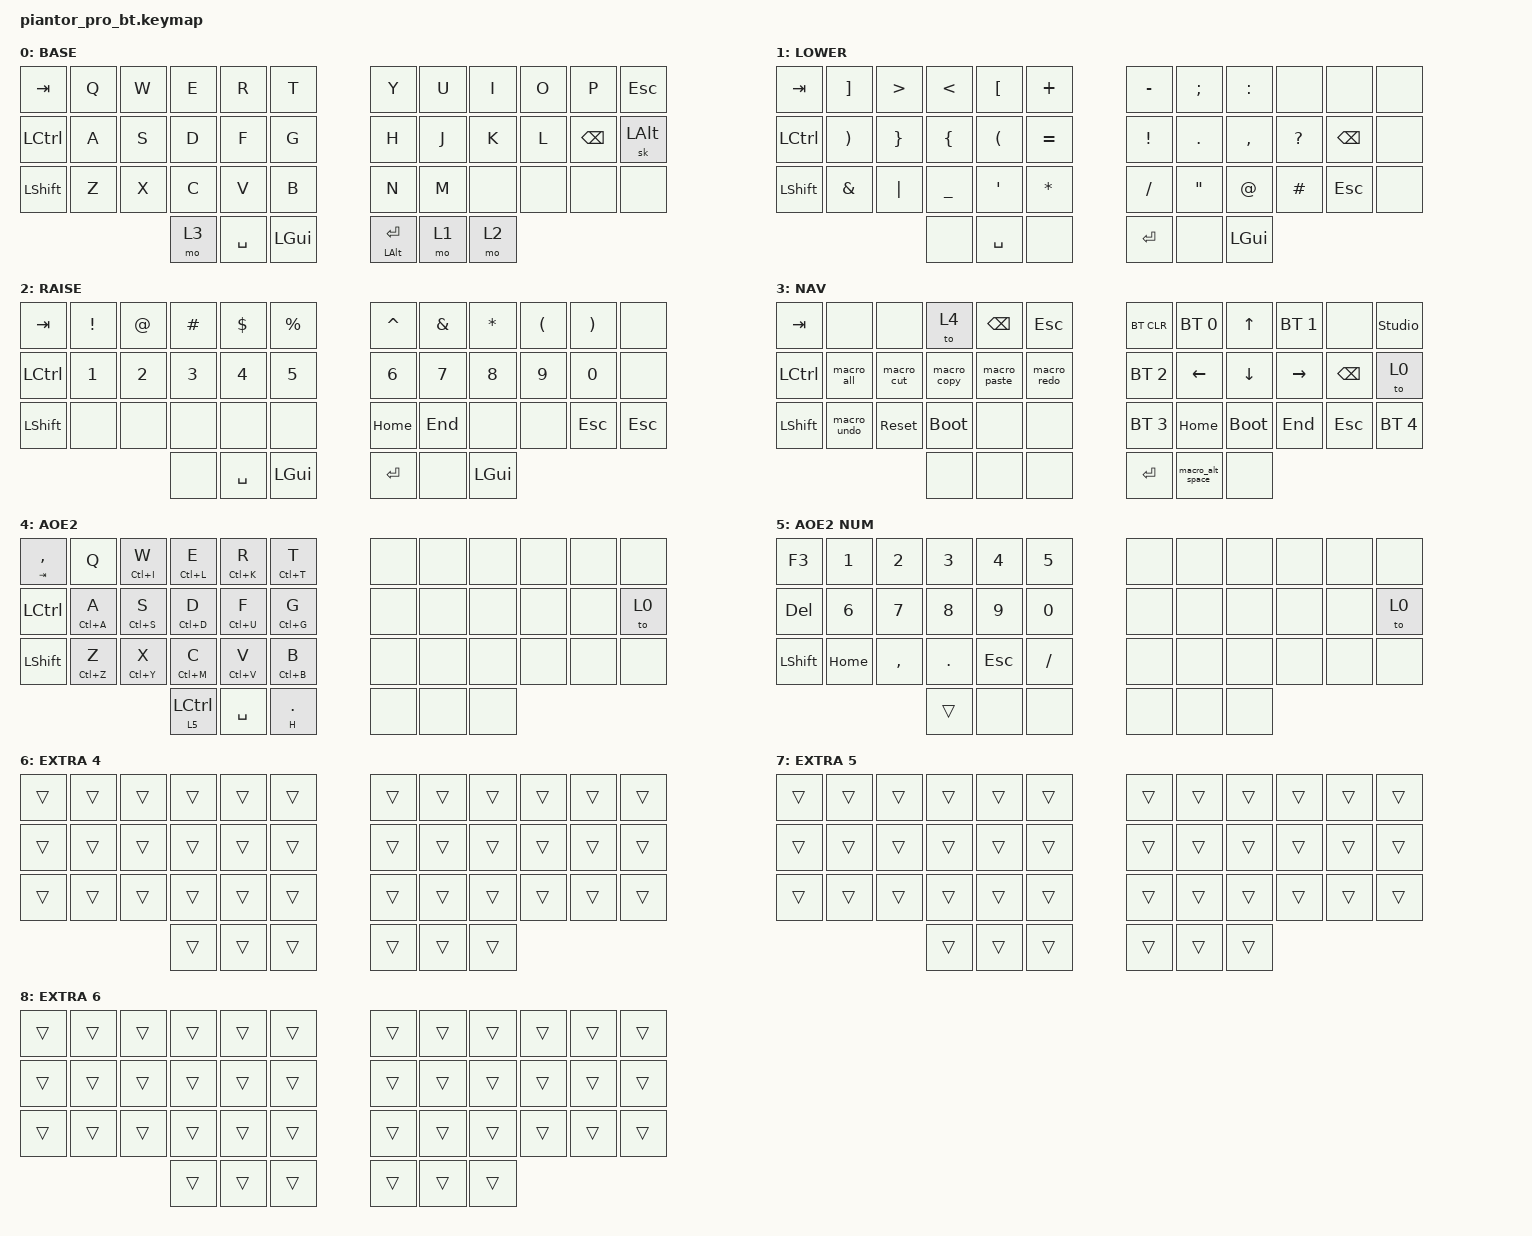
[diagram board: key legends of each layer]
/*
 * Copyright (c) 2020 The ZMK Contributors
 *
 * SPDX-License-Identifier: MIT
 */

#include <behaviors.dtsi>
#include <dt-bindings/zmk/keys.h>
#include <dt-bindings/zmk/bt.h>
#include <dt-bindings/zmk/rgb.h>

/ {
    chosen {
        zmk,physical-layout = &default_layout;
    };
};

/ {
    behaviors {
        aoe_grp: aoe_group_tap {
            compatible = "zmk,behavior-hold-tap";
            label = "AOE_GROUP";
            #binding-cells = <2>;
            flavor = "balanced";
            tapping-term-ms = <200>;
            bindings = <&mo>, <&sk>;
        };
        aoe_vill: aoe_villager_tc {
            compatible = "zmk,behavior-hold-tap";
            label = "AOE_VILL_TC";
            #binding-cells = <2>;
            flavor = "balanced";
            tapping-term-ms = <150>;
            bindings = <&kp>, <&kp>;
        };
        aoe_mil: aoe_idle_military {
            compatible = "zmk,behavior-hold-tap";
            label = "AOE_IDLE_MIL";
            #binding-cells = <2>;
            flavor = "balanced";
            tapping-term-ms = <150>;
            bindings = <&kp>, <&kp>;
        };
        aoe_goto: aoe_goto_building {
            compatible = "zmk,behavior-hold-tap";
            label = "AOE_GOTO";
            #binding-cells = <2>;
            flavor = "balanced";
            tapping-term-ms = <200>;
            bindings = <&kp>, <&kp>;
        };
    };

    macros {
        macro_copy: macro_copy {
            compatible = "zmk,behavior-macro";
            label = "macro_copy";
            #binding-cells = <0>;
            bindings =
                <&macro_press>,
                <&kp LEFT_GUI>,
                <&macro_tap>,
                <&kp C>,
                <&macro_release>,
                <&kp LEFT_GUI>;
        };
        macro_paste: macro_paste {
            compatible = "zmk,behavior-macro";
            label = "macro_paste";
            #binding-cells = <0>;
            bindings =
                <&macro_press>,
                <&kp LEFT_GUI>,
                <&macro_tap>,
                <&kp V>,
                <&macro_release>,
                <&kp LEFT_GUI>;
        };
        macro_cut: macro_cut {
            compatible = "zmk,behavior-macro";
            label = "macro_cut";
            #binding-cells = <0>;
            bindings =
                <&macro_press>,
                <&kp LEFT_GUI>,
                <&macro_tap>,
                <&kp X>,
                <&macro_release>,
                <&kp LEFT_GUI>;
        };
        macro_all: macro_all {
            compatible = "zmk,behavior-macro";
            label = "macro_all";
            #binding-cells = <0>;
            bindings =
                <&macro_press>,
                <&kp LEFT_GUI>,
                <&macro_tap>,
                <&kp A>,
                <&macro_release>,
                <&kp LEFT_GUI>;
        };
        macro_shake: macro_shake {
            compatible = "zmk,behavior-macro";
            label = "macro_shake";
            #binding-cells = <0>;
            bindings =
                <&macro_press>,
                <&kp LEFT_GUI &kp LEFT_CONTROL>,
                <&macro_tap>,
                <&kp Z>,
                <&macro_release>,
                <&kp LEFT_GUI &kp LEFT_CONTROL>,
                <&macro_press>,
                <&kp LEFT_GUI>,
                <&macro_tap>,
                <&kp M>,
                <&macro_release>,
                <&kp LEFT_GUI>;
        };
        macro_undo: macro_undo {
            compatible = "zmk,behavior-macro";
            label = "macro_undo";
            #binding-cells = <0>;
            bindings =
                <&macro_press>,
                <&kp LEFT_GUI>,
                <&macro_tap>,
                <&kp Z>,
                <&macro_release>,
                <&kp LEFT_GUI>;
        };
        macro_redo: macro_redo {
            compatible = "zmk,behavior-macro";
            label = "macro_redo";
            #binding-cells = <0>;
            bindings =
                <&macro_press>,
                <&kp LEFT_GUI &kp LEFT_SHIFT>,
                <&macro_tap>,
                <&kp Z>,
                <&macro_release>,
                <&kp LEFT_GUI &kp LEFT_SHIFT>;
        };
        macro_left: macro_left {
            compatible = "zmk,behavior-macro";
            label = "macro_left";
            #binding-cells = <0>;
            bindings =
                <&macro_press>,
                <&kp LEFT_SHIFT>,
                <&macro_tap>,
                <&kp LEFT_ARROW>,
                <&macro_release>,
                <&kp LEFT_SHIFT>;
        };
        macro_right: macro_right {
            compatible = "zmk,behavior-macro";
            label = "macro_right";
            #binding-cells = <0>;
            bindings =
                <&macro_press>,
                <&kp LEFT_SHIFT>,
                <&macro_tap>,
                <&kp RIGHT_ARROW>,
                <&macro_release>,
                <&kp LEFT_SHIFT>;
        };
        macro_alt_space: macro_alt_space {
            compatible = "zmk,behavior-macro";
            label = "macro_alt_space";
            #binding-cells = <0>;
            bindings =
                <&macro_press>,
                <&kp LEFT_ALT>,
                <&macro_tap>,
                <&kp SPACE>,
                <&macro_release>,
                <&kp LEFT_ALT>;
        };
    };

    keymap {
        compatible = "zmk,keymap";

        default_layer {
            display-name = "BASE";
            // --------------------------------------------------------------------------------
            // |  TAB |  Q  |  W  |  E  |  R  |  T  |  Y  |  U   |  I  |  O  |  P  | ESC  |
            // | CTRL |  A  |  S  |  D  |  F  |  G  |  H  |  J   |  K  |  L  | BSPC| ALT  |
            // | SHFT |  Z  |  X  |  C  |  V  |  B  |  N  |  M   | none| none| none| none |
            //                    | mo 3| SPC | GUI | ENT | mo 1 | mo 2|
            bindings = <
                &kp TAB   &kp Q &kp W &kp E &kp R &kp T         &kp Y   &kp U &kp I &kp O &kp P         &kp ESC
                &kp LCTRL &kp A &kp S &kp D &kp F &kp G         &kp H   &kp J &kp K &kp L &kp BACKSPACE &sk LALT
                &kp LSHFT &kp Z &kp X &kp C &kp V &kp B         &kp N   &kp M &none &none &none         &none
                                      &mo 3 &kp SPACE &kp LGUI  &mt LALT RET &mo 1 &mo 2
            >;
        };

        lower_layer {
            display-name = "LOWER";
            // -----------------------------------------------------------------------------------------
            // |  TAB |  ]  |  >  |  <  |  [  |  +  |  -  |  ;  |  :  | none| none| none |
            // | CTRL |  )  |  }  |  {  |  (  |  =  |  !  |  .  |  ,  |  ?  | BSPC| none |
            // | SHFT |  &  |  |  |  _  |  '  |  *  |  /  |  "  |  @  |  #  | ESC | none |
            //                    | none| SPC | none| ENT | none| GUI |
            bindings = <
                &kp TAB   &kp RBKT &kp GT    &kp LT     &kp LBKT &kp PLUS   &kp MINUS &kp SEMI &kp COLON &none        &none         &none
                &kp LCTRL &kp RPAR &kp RBRC  &kp LBRC   &kp LPAR &kp EQUAL  &kp EXCL  &kp DOT  &kp COMMA &kp QUESTION &kp BACKSPACE &none
                &kp LSHFT &kp AMPS &kp PIPE  &kp UNDER  &kp SQT  &kp ASTRK  &kp SLASH &kp DQT  &kp AT    &kp HASH     &kp ESC       &none
                                             &none      &kp SPACE &none     &kp RET   &none    &kp LGUI
            >;
        };

        raise_layer {
            display-name = "RAISE";
            // -----------------------------------------------------------------------------------------
            // |  TAB |  !  |  @  |  #  |  $  |  %  |  ^  |  &  |  *  |  (  |  )  | none |
            // | CTRL |  1  |  2  |  3  |  4  |  5  |  6  |  7  |  8  |  9  |  0  | none |
            // | SHFT | none| none| none| none| none| HOME| END | none| none| ESC | ESC  |
            //                    | none| SPC | GUI | ENT | none| GUI |
            bindings = <
                &kp TAB   &kp EXCL &kp AT &kp HASH &kp DLLR &kp PRCNT  &kp CARET &kp AMPS &kp ASTRK &kp LPAR &kp RPAR &none
                &kp LCTRL &kp N1   &kp N2 &kp N3   &kp N4   &kp N5     &kp N6    &kp N7   &kp N8    &kp N9   &kp N0   &none
                &kp LSHFT &none    &none  &none    &none    &none      &kp HOME  &kp END  &none     &none    &kp ESC  &kp ESC
                                          &none    &kp SPACE &kp LGUI   &kp RET   &none    &kp LGUI
            >;
        };

        extra_layer_1 {
            display-name = "NAV";
            // -----------------------------------------------------------------------------------------
            // |  TAB | none| none| AOE2| BSPC| ESC |BT_CLR| BT 0|  UP | BT 1| none|UNLOCK|
            // | CTRL | ALL | CUT | COPY|PASTE| REDO| BT 2 | LEFT| DOWN|RIGHT| BSPC| to 0 |
            // | SHFT | UNDO| RST | BOOT| none| none| BT 3 | HOME| BOOT| END | ESC | BT 4 |
            //                    | none| none| none| ENT  |ALT_SPC| none|
            bindings = <
                &kp TAB   &none       &none       &to 4        &kp BSPC     &kp ESC      &bt BT_CLR   &bt BT_SEL 0 &kp UP   &bt BT_SEL 1 &none         &studio_unlock
                &kp LCTRL &macro_all  &macro_cut  &macro_copy  &macro_paste &macro_redo  &bt BT_SEL 2 &kp LEFT     &kp DOWN &kp RIGHT    &kp BACKSPACE &to 0
                &kp LSHFT &macro_undo &sys_reset  &bootloader  &none        &none        &bt BT_SEL 3 &kp HOME     &bootloader &kp END   &kp ESC       &bt BT_SEL 4
                                                   &none        &none        &none        &kp RET      &macro_alt_space &none
            >;
        };

        aoe2_base {
            display-name = "AOE2";
            // -----------------------------------------------------------------------------------------
            // LEFT HAND: Full AoE2 grid with Go-To on long press (200ms)
            // RIGHT HAND: unused (on mouse), to 0 to exit
            //
            // TAP (grid command)  |  HOLD (Go-To building via Ctrl+key)
            // ---------------------------------------------------------
            // | ,/TAB|  Q  |W/MIL|E/STB|R/SIE|T/KRE|  -  |  -  |  -  |  -  |  -  |  -   |
            // | CTRL |A/ARC|S/BLS|D/DOC|F/UNI|G/MIN|  -  |  -  |  -  |  -  |  -  | to 0 |
            // | SHFT |Z/LUM|X/MON|C/MKT|V/CAS|B/BAR|  -  |  -  |  -  |  -  |  -  |  -   |
            //              | GRP(hold=mo,tap=skCtrl) | SPC | ./H(tap=vill,hold=TC) |
            //
            // Key legend:
            //   ,/TAB  = tap: , (idle military)  | hold: TAB
            //   W/MIL  = tap: W                  | hold: Ctrl+I (go to Mill)
            //   E/STB  = tap: E                  | hold: Ctrl+L (go to Stable)
            //   R/SIE  = tap: R                  | hold: Ctrl+K (go to Siege Workshop)
            //   T/KRE  = tap: T                  | hold: Ctrl+T (go to Krepost)
            //   A/ARC  = tap: A                  | hold: Ctrl+A (go to Archery Range)
            //   S/BLS  = tap: S                  | hold: Ctrl+S (go to Blacksmith)
            //   D/DOC  = tap: D                  | hold: Ctrl+D (go to Dock)
            //   F/UNI  = tap: F                  | hold: Ctrl+U (go to University)
            //   G/MIN  = tap: G                  | hold: Ctrl+G (go to Mining Camp)
            //   Z/LUM  = tap: Z                  | hold: Ctrl+Z (go to Lumber Camp)
            //   X/MON  = tap: X                  | hold: Ctrl+Y (go to Monastery)
            //   C/MKT  = tap: C                  | hold: Ctrl+M (go to Market)
            //   V/CAS  = tap: V                  | hold: Ctrl+V (go to Castle)
            //   B/BAR  = tap: B                  | hold: Ctrl+B (go to Barracks)
            //   GRP    = hold: momentary numbers layer | tap: sticky Ctrl (assign group)
            //   ./H    = tap: . (idle villager)  | hold: H (go to Town Center)
            bindings = <
                &aoe_mil TAB COMMA    &kp Q                &aoe_goto LC(I) W  &aoe_goto LC(L) E  &aoe_goto LC(K) R  &aoe_goto LC(T) T   &none &none &none &none &none &none
                &kp LCTRL             &aoe_goto LC(A) A    &aoe_goto LC(S) S  &aoe_goto LC(D) D  &aoe_goto LC(U) F  &aoe_goto LC(G) G   &none &none &none &none &none &to 0
                &kp LSHFT             &aoe_goto LC(Z) Z    &aoe_goto LC(Y) X  &aoe_goto LC(M) C  &aoe_goto LC(V) V  &aoe_goto LC(B) B   &none &none &none &none &none &none
                                                           &aoe_grp 5 LCTRL  &kp SPACE          &aoe_vill H DOT    &none &none &none
            >;
        };

        aoe2_numbers {
            display-name = "AOE2 NUM";
            // -----------------------------------------------------------------------------------------
            // Accessed by HOLDING the GRP key on AOE2 layer
            // LEFT HAND: Numbers + utility     RIGHT HAND: passthrough
            // |  F3  |  1  |  2  |  3  |  4  |  5  |  -  |  -  |  -  |  -  |  -  |  -   |
            // | DEL  |  6  |  7  |  8  |  9  |  0  |  -  |  -  |  -  |  -  |  -  | to 0 |
            // | SHFT | HOME|  ,  |  .  | ESC |  /  |  -  |  -  |  -  |  -  |  -  |  -   |
            //                    | --- | --- | --- |  -  |  -  |  -  |
            //
            // Numbers 1-5 on top row, 6-0 on home row for control groups
            // , = next idle military | . = next idle villager
            // HOME = go to last notification | F3 = pause | / = click-drag scroll
            bindings = <
                &kp F3    &kp N1   &kp N2    &kp N3  &kp N4  &kp N5   &none &none &none &none &none &none
                &kp DEL   &kp N6   &kp N7    &kp N8  &kp N9  &kp N0   &none &none &none &none &none &to 0
                &kp LSHFT &kp HOME &kp COMMA &kp DOT &kp ESC &kp SLASH &none &none &none &none &none &none
                                              &trans  &none   &none    &none &none &none
            >;
        };

        extra_layer_4 {
            display-name = "EXTRA 4";
            bindings = <
                &trans &trans &trans &trans &trans &trans  &trans &trans &trans &trans &trans &trans
                &trans &trans &trans &trans &trans &trans  &trans &trans &trans &trans &trans &trans
                &trans &trans &trans &trans &trans &trans  &trans &trans &trans &trans &trans &trans
                                     &trans &trans &trans  &trans &trans &trans       
            >;
        };

        extra_layer_5 {
            display-name = "EXTRA 5";
            bindings = <
                &trans &trans &trans &trans &trans &trans  &trans &trans &trans &trans &trans &trans
                &trans &trans &trans &trans &trans &trans  &trans &trans &trans &trans &trans &trans
                &trans &trans &trans &trans &trans &trans  &trans &trans &trans &trans &trans &trans
                                     &trans &trans &trans  &trans &trans &trans       
            >;
        };

        extra_layer_6 {
            display-name = "EXTRA 6";
            bindings = <
                &trans &trans &trans &trans &trans &trans  &trans &trans &trans &trans &trans &trans
                &trans &trans &trans &trans &trans &trans  &trans &trans &trans &trans &trans &trans
                &trans &trans &trans &trans &trans &trans  &trans &trans &trans &trans &trans &trans
                                     &trans &trans &trans  &trans &trans &trans       
            >;
        };
    };
};
